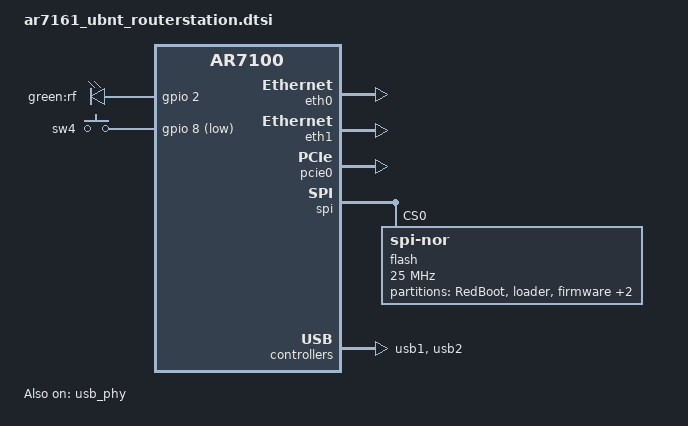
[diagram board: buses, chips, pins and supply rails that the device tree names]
// SPDX-License-Identifier: GPL-2.0-or-later OR MIT

#include "ar7100.dtsi"

#include <dt-bindings/gpio/gpio.h>
#include <dt-bindings/input/input.h>
#include <dt-bindings/mtd/partitions/uimage.h>

/ {
	aliases {
		led-boot = &led_rf;
		led-failsafe = &led_rf;
		led-running = &led_rf;
		led-upgrade = &led_rf;
	};

	leds {
		compatible = "gpio-leds";

		led_rf: rf_green {
			label = "green:rf";
			gpios = <&gpio 2 GPIO_ACTIVE_HIGH>;
		};
	};

	keys {
		compatible = "gpio-keys";

		wps {
			label = "sw4";
			linux,code = <KEY_RESTART>;
			gpios = <&gpio 8 GPIO_ACTIVE_LOW>;
			debounce-interval = <60>;
		};
	};
};

&eth0 {
	status = "okay";
};

&eth1 {
	status = "okay";
};

&pcie0 {
	status = "okay";
};

&spi {
	status = "okay";

	flash@0 {
		compatible = "jedec,spi-nor";
		reg = <0>;
		spi-max-frequency = <25000000>;

		partitions {
			compatible = "fixed-partitions";
			#address-cells = <1>;
			#size-cells = <1>;

			partition@0 {
				label = "RedBoot";
				reg = <0x000000 0x030000>;
				read-only;
			};

			partition@30000 {
				label = "loader";
				reg = <0x030000 0x020000>;
			};

			partition@50000 {
				label = "firmware";
				reg = <0x050000 0xfa0000>;
				compatible = "openwrt,uimage", "denx,uimage";
				openwrt,ih-magic = <IH_MAGIC_OKLI>;
			};

			partition@ff0000 {
				label = "FIS directory";
				reg = <0xff0000 0x00f000>;
				read-only;
			};

			partition@fff000 {
				label = "RedBoot config";
				reg = <0xfff000 0x001000>;
				read-only;
			};
		};
	};
};

&usb_phy {
	status = "okay";
};

&usb1 {
	status = "okay";
};

&usb2 {
	status = "okay";
};
